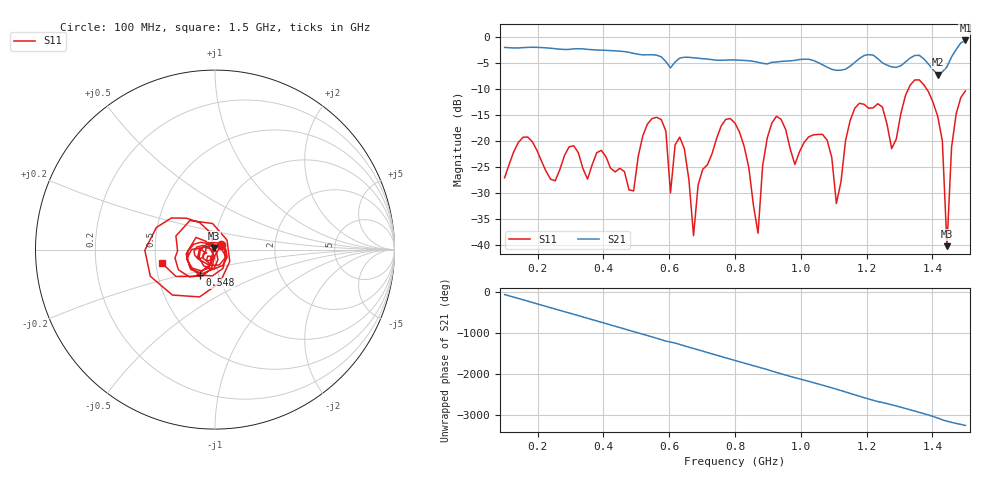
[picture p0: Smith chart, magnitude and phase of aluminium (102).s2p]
! NanoVNA-App
! Date: 2025-09-26 09:58:51
! Start: 100MHz Stop: 1,5GHz Points: 101
! S-Parameter data: F S11 S21 S12 S22
# Hz S RI R 50
!  Frequency  S11_Real  S11_Imag  S21_Real  S21_Imag  S12_Real  S12_Imag  S22_Real  S22_Imag
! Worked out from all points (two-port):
!   101 points, 100 MHz to 1.5 GHz, reference 50 ohm
!   highest |S21| = -0.58 dB at 1.5 GHz (marker M1); lowest = -7.2 dB at 1.416 GHz (marker M2)
!   |S21| within 3 dB of the highest: start of sweep to 569.4 MHz; 1.19 GHz to 1.224 GHz (33.93 MHz wide, 2.81 % of centre) (the widest 2 of 4)
!   lowest |S11| = -40.1 dB at 1.444 GHz (marker M3), VSWR 1.02, Z = 49.5 + j0.844 ohm
!   |S11| at or under -10 dB: start of sweep to 1.326 GHz; 1.383 GHz to end of sweep
!   S12 and S22 are empty: the file has one direction only
!   S11 on the Smith chart (normalised r, x): 100 MHz: 1.07, +0.06; 548 MHz: 0.81, -0.24; 1.5 GHz: 0.54, -0.09
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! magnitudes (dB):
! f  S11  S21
! 100 MHz  -27.0  -1.9
! 338 MHz  -25.2  -2.2
! 492 MHz  -29.5  -3.1
! 548 MHz  -15.6  -3.3
! 576 MHz  -15.8  -3.7
! 604 MHz  -29.9  -5.9
! 646 MHz  -21.4  -3.8
! 674 MHz  -38.1  -3.9
! 702 MHz  -25.4  -4.1
! 800 MHz  -16.5  -4.3
! 870 MHz  -37.6  -4.8
! 912 MHz  -16.5  -4.8
! 1.038 GHz  -18.7  -4.4
! 1.108 GHz  -31.9  -6.3
! 1.178 GHz  -12.7  -4.1
! 1.276 GHz  -21.4  -5.7
! 1.346 GHz  -8.2  -3.5
! 1.416 GHz  -15.2  -7.2
! 1.43 GHz  -19.9  -6.6
! 1.444 GHz  -40.1  -5.6
! 1.458 GHz  -21.1  -3.8
! 1.5 GHz  -10.3  -0.6
